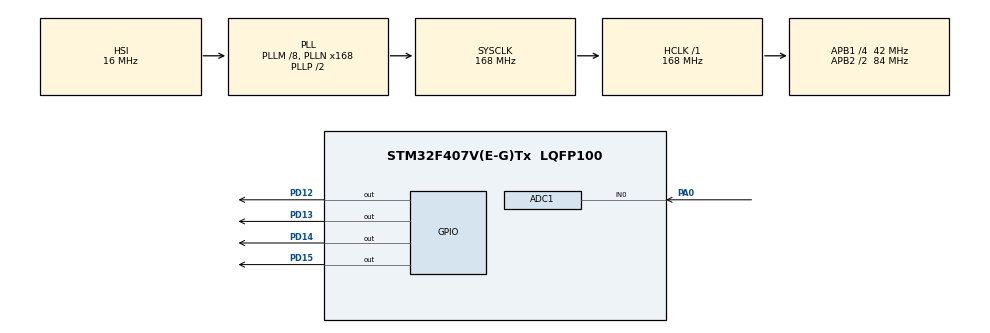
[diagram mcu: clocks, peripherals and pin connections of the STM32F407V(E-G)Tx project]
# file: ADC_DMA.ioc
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ADC1.Channel-0\#ChannelRegularConversion=ADC_CHANNEL_0
ADC1.ContinuousConvMode=ENABLE
ADC1.DMAContinuousRequests=ENABLE
ADC1.EOCSelection=ADC_EOC_SEQ_CONV
ADC1.NbrOfConversionFlag=1
ADC1.Rank-0\#ChannelRegularConversion=1
ADC1.SamplingTime-0\#ChannelRegularConversion=ADC_SAMPLETIME_3CYCLES
ADC1.master=1
Dma.ADC1.0.Direction=DMA_PERIPH_TO_MEMORY
Dma.ADC1.0.FIFOMode=DMA_FIFOMODE_DISABLE
Dma.ADC1.0.Instance=DMA2_Stream4
Dma.ADC1.0.MemDataAlignment=DMA_MDATAALIGN_HALFWORD
Dma.ADC1.0.MemInc=DMA_MINC_ENABLE
Dma.ADC1.0.Mode=DMA_CIRCULAR
Dma.ADC1.0.PeriphDataAlignment=DMA_PDATAALIGN_HALFWORD
Dma.ADC1.0.PeriphInc=DMA_PINC_DISABLE
Dma.ADC1.0.Priority=DMA_PRIORITY_MEDIUM
Dma.Request0=ADC1
Mcu.Family=STM32F4
Mcu.Name=STM32F407V(E-G)Tx
Mcu.Package=LQFP100
NVIC.DMA2_Stream4_IRQn=true\:0\:0\:false\:false\:true\:false
NVIC.PriorityGroup=NVIC_PRIORITYGROUP_4
PA0-WKUP.Signal=ADCx_IN0
PD12.Signal=GPIO_Output
PD13.Signal=GPIO_Output
PD14.Signal=GPIO_Output
PD15.Signal=GPIO_Output
PH0-OSC_IN.Mode=HSE-External-Oscillator
PH0-OSC_IN.Signal=RCC_OSC_IN
PH1-OSC_OUT.Mode=HSE-External-Oscillator
PH1-OSC_OUT.Signal=RCC_OSC_OUT
ProjectManager.HeapSize=0x200
ProjectManager.StackSize=0x400
ProjectManager.TargetToolchain=MDK-ARM V5
RCC.48MHZClocksFreq_Value=84000000
RCC.AHBFreq_Value=168000000
RCC.APB1CLKDivider=RCC_HCLK_DIV4
RCC.APB1Freq_Value=42000000
RCC.APB1TimFreq_Value=84000000
RCC.APB2CLKDivider=RCC_HCLK_DIV2
RCC.APB2Freq_Value=84000000
RCC.APB2TimFreq_Value=168000000
RCC.CortexFreq_Value=168000000
RCC.HCLKFreq_Value=168000000
RCC.HSE_VALUE=8000000
RCC.HSI_VALUE=16000000
RCC.LSE_VALUE=32768
RCC.PLLM=8
RCC.PLLN=168
RCC.SYSCLKFreq_VALUE=168000000
RCC.SYSCLKSource=RCC_SYSCLKSOURCE_PLLCLK
RCC.VCOOutputFreq_Value=336000000
SH.ADCx_IN0.0=ADC1_IN0,IN0
board=custom

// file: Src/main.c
/**
  ******************************************************************************
  * @file           : main.c
  * @brief          : Main program body
  ******************************************************************************
  ** This notice applies to any and all portions of this file
  * that are not between comment pairs USER CODE BEGIN and
  * USER CODE END. Other portions of this file, whether
  * inserted by the user or by software development tools
  * are owned by their respective copyright owners.
  *
  * COPYRIGHT(c) 2018 STMicroelectronics
  *
  * Redistribution and use in source and binary forms, with or without modification,
  * are permitted provided that the following conditions are met:
  *   1. Redistributions of source code must retain the above copyright notice,
  *      this list of conditions and the following disclaimer.
  *   2. Redistributions in binary form must reproduce the above copyright notice,
  *      this list of conditions and the following disclaimer in the documentation
  *      and/or other materials provided with the distribution.
  *   3. Neither the name of STMicroelectronics nor the names of its contributors
  *      may be used to endorse or promote products derived from this software
  *      without specific prior written permission.
  *
  * THIS SOFTWARE IS PROVIDED BY THE COPYRIGHT HOLDERS AND CONTRIBUTORS "AS IS"
  * AND ANY EXPRESS OR IMPLIED WARRANTIES, INCLUDING, BUT NOT LIMITED TO, THE
  * IMPLIED WARRANTIES OF MERCHANTABILITY AND FITNESS FOR A PARTICULAR PURPOSE ARE
  * DISCLAIMED. IN NO EVENT SHALL THE COPYRIGHT HOLDER OR CONTRIBUTORS BE LIABLE
  * FOR ANY DIRECT, INDIRECT, INCIDENTAL, SPECIAL, EXEMPLARY, OR CONSEQUENTIAL
  * DAMAGES (INCLUDING, BUT NOT LIMITED TO, PROCUREMENT OF SUBSTITUTE GOODS OR
  * SERVICES; LOSS OF USE, DATA, OR PROFITS; OR BUSINESS INTERRUPTION) HOWEVER
  * CAUSED AND ON ANY THEORY OF LIABILITY, WHETHER IN CONTRACT, STRICT LIABILITY,
  * OR TORT (INCLUDING NEGLIGENCE OR OTHERWISE) ARISING IN ANY WAY OUT OF THE USE
  * OF THIS SOFTWARE, EVEN IF ADVISED OF THE POSSIBILITY OF SUCH DAMAGE.
  *
  ******************************************************************************
  */
#include "main.h"
#include "stm32f4xx_hal.h"

ADC_HandleTypeDef hadc1;
DMA_HandleTypeDef hdma_adc1;

/* USER CODE BEGIN PV */
/* Private variables ---------------------------------------------------------*/
uint16_t adcValue[1];
/* USER CODE END PV */

void SystemClock_Config(void);
static void MX_GPIO_Init(void);
static void MX_DMA_Init(void);
static void MX_ADC1_Init(void);

/* USER CODE BEGIN PFP */
/* Private function prototypes -----------------------------------------------*/

/* USER CODE END PFP */

int main(void)
{

  /* MCU Configuration----------------------------------------------------------*/

  /* Reset of all peripherals, Initializes the Flash interface and the Systick. */
  HAL_Init();

  /* Configure the system clock */
  SystemClock_Config();

  /* Initialize all configured peripherals */
  MX_GPIO_Init();
  MX_DMA_Init();
  MX_ADC1_Init();
  /* USER CODE BEGIN 2 */
	HAL_ADC_Start_DMA(&hadc1, (uint32_t*)adcValue,1);
  /* USER CODE END 2 */

  /* Infinite loop */
  /* USER CODE BEGIN WHILE */
  while (1)
  {

		if(adcValue[0] < 1024)
		{
			HAL_GPIO_WritePin(GPIOD,GPIO_PIN_12,GPIO_PIN_SET);
			HAL_GPIO_WritePin(GPIOD,GPIO_PIN_13,GPIO_PIN_RESET);
			HAL_GPIO_WritePin(GPIOD,GPIO_PIN_14,GPIO_PIN_RESET);
			HAL_GPIO_WritePin(GPIOD,GPIO_PIN_15,GPIO_PIN_RESET);
		}
		else if(adcValue[0] >= 1024 && adcValue[0] < 2048)
		{
			HAL_GPIO_WritePin(GPIOD,GPIO_PIN_12,GPIO_PIN_SET);
			HAL_GPIO_WritePin(GPIOD,GPIO_PIN_13,GPIO_PIN_SET);
			HAL_GPIO_WritePin(GPIOD,GPIO_PIN_14,GPIO_PIN_RESET);
			HAL_GPIO_WritePin(GPIOD,GPIO_PIN_15,GPIO_PIN_RESET);
		}
		else if(adcValue[0] >= 2048 && adcValue[0] < 3072)
		{
			HAL_GPIO_WritePin(GPIOD,GPIO_PIN_12,GPIO_PIN_SET);
			HAL_GPIO_WritePin(GPIOD,GPIO_PIN_13,GPIO_PIN_SET);
			HAL_GPIO_WritePin(GPIOD,GPIO_PIN_14,GPIO_PIN_SET);
			HAL_GPIO_WritePin(GPIOD,GPIO_PIN_15,GPIO_PIN_RESET);
		}
		else if(adcValue[0] >= 3072)
		{
			HAL_GPIO_WritePin(GPIOD,GPIO_PIN_12,GPIO_PIN_SET);
			HAL_GPIO_WritePin(GPIOD,GPIO_PIN_13,GPIO_PIN_SET);
			HAL_GPIO_WritePin(GPIOD,GPIO_PIN_14,GPIO_PIN_SET);
			HAL_GPIO_WritePin(GPIOD,GPIO_PIN_15,GPIO_PIN_SET);
		}
  /* USER CODE END WHILE */

  }

}

void SystemClock_Config(void)
{

  RCC_OscInitTypeDef RCC_OscInitStruct;
  RCC_ClkInitTypeDef RCC_ClkInitStruct;

    /**Configure the main internal regulator output voltage
    */
  __HAL_RCC_PWR_CLK_ENABLE();

  __HAL_PWR_VOLTAGESCALING_CONFIG(PWR_REGULATOR_VOLTAGE_SCALE1);

    /**Initializes the CPU, AHB and APB busses clocks
    */
  RCC_OscInitStruct.OscillatorType = RCC_OSCILLATORTYPE_HSI;
  RCC_OscInitStruct.HSIState = RCC_HSI_ON;
  RCC_OscInitStruct.HSICalibrationValue = 16;
  RCC_OscInitStruct.PLL.PLLState = RCC_PLL_ON;
  RCC_OscInitStruct.PLL.PLLSource = RCC_PLLSOURCE_HSI;
  RCC_OscInitStruct.PLL.PLLM = 8;
  RCC_OscInitStruct.PLL.PLLN = 168;
  RCC_OscInitStruct.PLL.PLLP = RCC_PLLP_DIV2;
  RCC_OscInitStruct.PLL.PLLQ = 4;
  if (HAL_RCC_OscConfig(&RCC_OscInitStruct) != HAL_OK)
  {
    _Error_Handler(__FILE__, __LINE__);
  }

    /**Initializes the CPU, AHB and APB busses clocks
    */
  RCC_ClkInitStruct.ClockType = RCC_CLOCKTYPE_HCLK|RCC_CLOCKTYPE_SYSCLK
                              |RCC_CLOCKTYPE_PCLK1|RCC_CLOCKTYPE_PCLK2;
  RCC_ClkInitStruct.SYSCLKSource = RCC_SYSCLKSOURCE_PLLCLK;
  RCC_ClkInitStruct.AHBCLKDivider = RCC_SYSCLK_DIV1;
  RCC_ClkInitStruct.APB1CLKDivider = RCC_HCLK_DIV4;
  RCC_ClkInitStruct.APB2CLKDivider = RCC_HCLK_DIV2;

  if (HAL_RCC_ClockConfig(&RCC_ClkInitStruct, FLASH_LATENCY_5) != HAL_OK)
  {
    _Error_Handler(__FILE__, __LINE__);
  }

    /**Configure the Systick interrupt time
    */
  HAL_SYSTICK_Config(HAL_RCC_GetHCLKFreq()/1000);

    /**Configure the Systick
    */
  HAL_SYSTICK_CLKSourceConfig(SYSTICK_CLKSOURCE_HCLK);

  /* SysTick_IRQn interrupt configuration */
  HAL_NVIC_SetPriority(SysTick_IRQn, 0, 0);
}

/* ADC1 init function */
static void MX_ADC1_Init(void)
{

  ADC_ChannelConfTypeDef sConfig;

    /**Configure the global features of the ADC (Clock, Resolution, Data Alignment and number of conversion)
    */
  hadc1.Instance = ADC1;
  hadc1.Init.ClockPrescaler = ADC_CLOCK_SYNC_PCLK_DIV4;
  hadc1.Init.Resolution = ADC_RESOLUTION_12B;
  hadc1.Init.ScanConvMode = DISABLE;
  hadc1.Init.ContinuousConvMode = ENABLE;
  hadc1.Init.DiscontinuousConvMode = DISABLE;
  hadc1.Init.ExternalTrigConvEdge = ADC_EXTERNALTRIGCONVEDGE_NONE;
  hadc1.Init.ExternalTrigConv = ADC_SOFTWARE_START;
  hadc1.Init.DataAlign = ADC_DATAALIGN_RIGHT;
  hadc1.Init.NbrOfConversion = 1;
  hadc1.Init.DMAContinuousRequests = ENABLE;
  hadc1.Init.EOCSelection = ADC_EOC_SEQ_CONV;
  if (HAL_ADC_Init(&hadc1) != HAL_OK)
  {
    _Error_Handler(__FILE__, __LINE__);
  }

    /**Configure for the selected ADC regular channel its corresponding rank in the sequencer and its sample time.
    */
  sConfig.Channel = ADC_CHANNEL_0;
  sConfig.Rank = 1;
  sConfig.SamplingTime = ADC_SAMPLETIME_3CYCLES;
  if (HAL_ADC_ConfigChannel(&hadc1, &sConfig) != HAL_OK)
  {
    _Error_Handler(__FILE__, __LINE__);
  }

}

static void MX_DMA_Init(void)
{
  /* DMA controller clock enable */
  __HAL_RCC_DMA2_CLK_ENABLE();

  /* DMA interrupt init */
  /* DMA2_Stream4_IRQn interrupt configuration */
  HAL_NVIC_SetPriority(DMA2_Stream4_IRQn, 0, 0);
  HAL_NVIC_EnableIRQ(DMA2_Stream4_IRQn);

}

/** Configure pins as
        * Analog
        * Input
        * Output
        * EVENT_OUT
        * EXTI
*/
static void MX_GPIO_Init(void)
{

  GPIO_InitTypeDef GPIO_InitStruct;

  /* GPIO Ports Clock Enable */
  __HAL_RCC_GPIOH_CLK_ENABLE();
  __HAL_RCC_GPIOA_CLK_ENABLE();
  __HAL_RCC_GPIOD_CLK_ENABLE();

  /*Configure GPIO pin Output Level */
  HAL_GPIO_WritePin(GPIOD, GPIO_PIN_12|GPIO_PIN_13|GPIO_PIN_14|GPIO_PIN_15, GPIO_PIN_RESET);

  /*Configure GPIO pins : PD12 PD13 PD14 PD15 */
  GPIO_InitStruct.Pin = GPIO_PIN_12|GPIO_PIN_13|GPIO_PIN_14|GPIO_PIN_15;
  GPIO_InitStruct.Mode = GPIO_MODE_OUTPUT_PP;
  GPIO_InitStruct.Pull = GPIO_NOPULL;
  GPIO_InitStruct.Speed = GPIO_SPEED_FREQ_LOW;
  HAL_GPIO_Init(GPIOD, &GPIO_InitStruct);

}

void _Error_Handler(char *file, int line)
{
  while(1)
  {
  }
}

/************************ (C) COPYRIGHT STMicroelectronics *****END OF FILE****/
